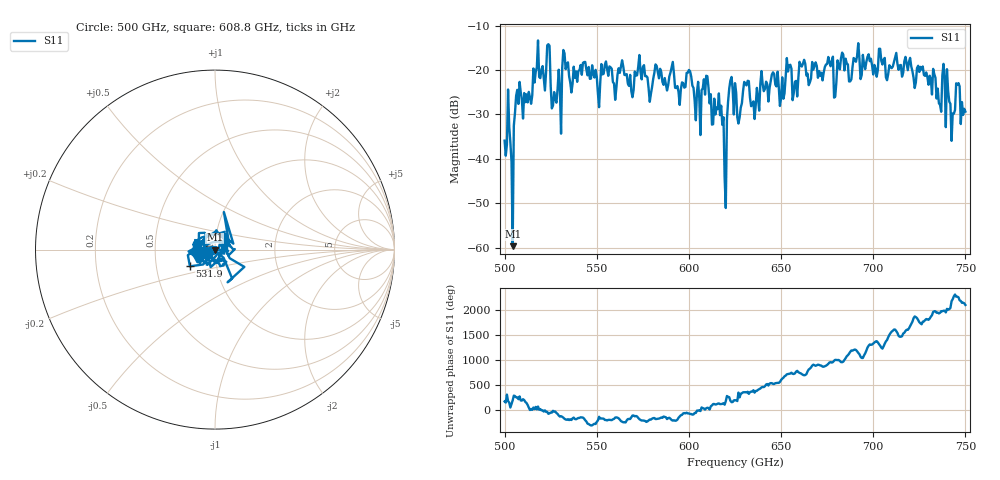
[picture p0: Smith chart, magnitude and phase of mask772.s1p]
!Created with skrf (http://scikit-rf.org).
# GHz S MA R 50.0
!freq magS11 angS11
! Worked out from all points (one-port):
!   401 points, 500 GHz to 750 GHz, reference 50 ohm
!   lowest |S11| = -59.7 dB at 504.4 GHz (marker M1), VSWR 1.00, Z = 49.9 - j0.0331 ohm
!   |S11| at or under -10 dB: start of sweep to end of sweep
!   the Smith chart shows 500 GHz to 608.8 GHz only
!   S11 on the Smith chart (normalised r, x): 500 GHz: 0.97, +0.00; 531.9 GHz: 0.74, -0.14; 608.8 GHz: 1.11, +0.03
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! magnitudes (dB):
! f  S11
! 500 GHz  -35.9
! 502.5 GHz  -32.8
! 504.4 GHz  -59.7
! 507.5 GHz  -27.7
! 513.8 GHz  -26.1
! 516.9 GHz  -20.4
! 523.8 GHz  -14.2
! 526.9 GHz  -25.0
! 531.2 GHz  -19.5
! 531.9 GHz  -15.5
! 562.5 GHz  -20.6
! 579.4 GHz  -25.4
! 590.6 GHz  -19.4
! 593.8 GHz  -23.6
! 600 GHz  -20.0
! 605 GHz  -22.7
! 608.8 GHz  -25.5
! 617.5 GHz  -28.1
! 619.4 GHz  -44.4
! 622.5 GHz  -22.4
! 625 GHz  -23.0
! 654.4 GHz  -19.0
! 656.2 GHz  -26.8
! 661.2 GHz  -19.2
! 687.5 GHz  -22.6
! 690.6 GHz  -18.1
! 718.8 GHz  -20.0
! 750 GHz  -29.4
